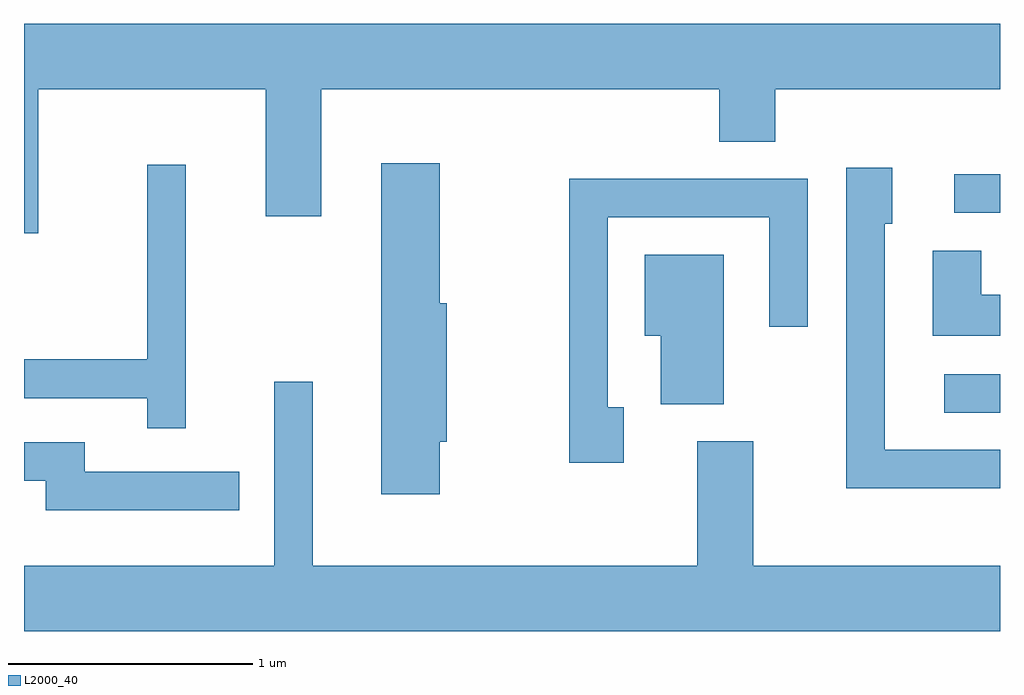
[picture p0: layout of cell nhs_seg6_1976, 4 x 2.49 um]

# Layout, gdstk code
import gdstk
lib = gdstk.Library(unit=1e-6, precision=1e-09)
def R(c, l, rs):  # rectangles x0, y0, x1, y1
    for r in rs: c.add(gdstk.rectangle(r[:2], r[2:], *l))
def P(c, l, *ps):  # polygons
    for p in ps: c.add(gdstk.Polygon(p, *l))
L2000_40 = (2000, 40)

nhs_seg6_1976 = lib.new_cell('nhs_seg6_1976')
R(nhs_seg6_1976, L2000_40, [(249.383,1564.251,249.611,1564.409), (249.423,1565.071,249.611,1565.229)])
P(nhs_seg6_1976, L2000_40, [(245.669,1565.576),(246.601,1565.576),(246.601,1565.056),(246.829,1565.056),(246.829,1565.576),(248.461,1565.576),(248.461,1565.361),(248.689,1565.361),(248.689,1565.576),(249.611,1565.576),(249.611,1565.844),(245.611,1565.844),(245.611,1564.986),(245.669,1564.986)],
  [(247.314,1564.131),(247.344,1564.131),(247.344,1564.699),(247.314,1564.699),(247.314,1565.274),(247.076,1565.274),(247.076,1563.916),(247.314,1563.916)],
  [(246.274,1565.268),(246.116,1565.268),(246.116,1564.469),(245.611,1564.469),(245.611,1564.311),(246.116,1564.311),(246.116,1564.188),(246.274,1564.188)],
  [(249.611,1564.099),(249.139,1564.099),(249.139,1565.026),(249.169,1565.026),(249.169,1565.254),(248.981,1565.254),(248.981,1563.941),(249.611,1563.941)],
  [(248.069,1564.274),(248.004,1564.274),(248.004,1565.051),(248.666,1565.051),(248.666,1564.603),(248.824,1564.603),(248.824,1565.209),(247.846,1565.209),(247.846,1564.046),(248.069,1564.046)],
  [(249.611,1564.734),(249.534,1564.734),(249.534,1564.914),(249.336,1564.914),(249.336,1564.566),(249.611,1564.566)],
  [(248.479,1564.899),(248.156,1564.899),(248.156,1564.566),(248.221,1564.566),(248.221,1564.286),(248.479,1564.286)],
  [(249.611,1563.624),(248.599,1563.624),(248.599,1564.134),(248.371,1564.134),(248.371,1563.624),(246.794,1563.624),(246.794,1564.378),(246.636,1564.378),(246.636,1563.624),(245.611,1563.624),(245.611,1563.356),(249.611,1563.356)],
  [(246.493,1564.009),(245.859,1564.009),(245.859,1564.129),(245.611,1564.129),(245.611,1563.971),(245.701,1563.971),(245.701,1563.851),(246.493,1563.851)])

lib.write_gds('nhs_seg6_1976.gds')
